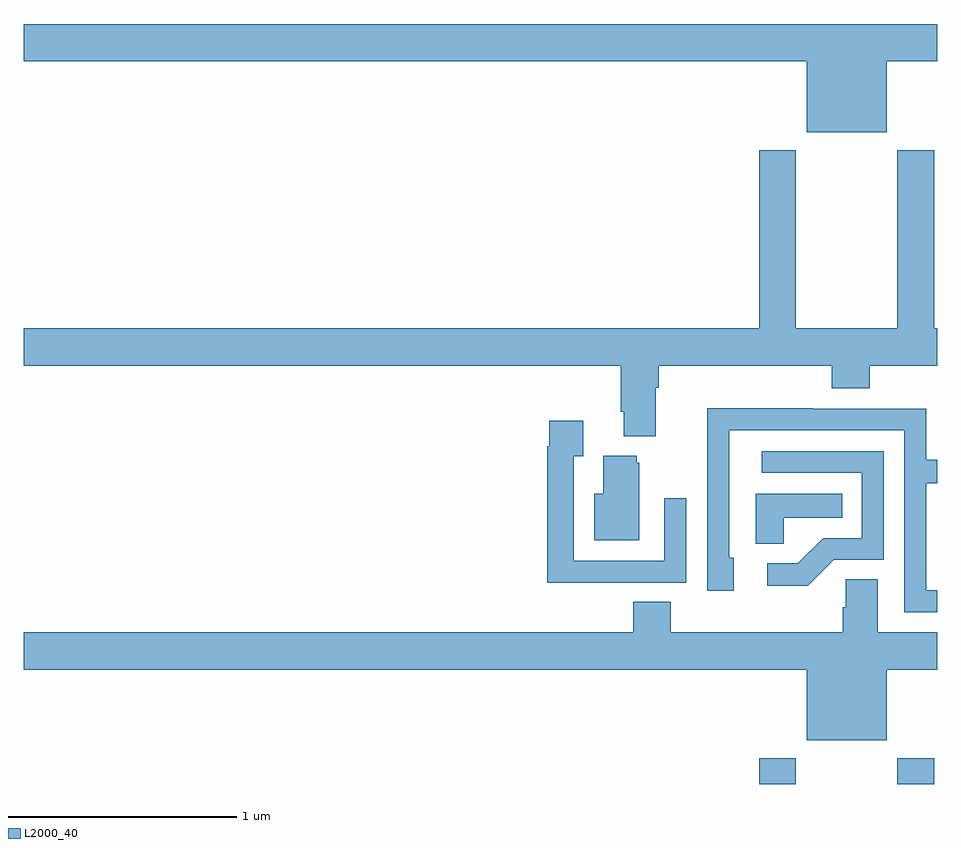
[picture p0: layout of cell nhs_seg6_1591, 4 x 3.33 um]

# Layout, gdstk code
import gdstk
lib = gdstk.Library(unit=1e-6, precision=1e-09)
def R(c, l, rs):  # rectangles x0, y0, x1, y1
    for r in rs: c.add(gdstk.rectangle(r[:2], r[2:], *l))
def P(c, l, *ps):  # polygons
    for p in ps: c.add(gdstk.Polygon(p, *l))
L2000_40 = (2000, 40)

nhs_seg6_1591 = lib.new_cell('nhs_seg6_1591')
R(nhs_seg6_1591, L2000_40, [(210.221,949.5,210.381,949.612), (210.826,949.5,210.986,949.612)])
P(nhs_seg6_1591, L2000_40, [(207,952.664),(210.428,952.664),(210.428,952.355),(210.778,952.355),(210.778,952.664),(211,952.664),(211,952.828),(207,952.828)],
  [(209.767,951.236),(209.78,951.236),(209.78,951.332),(210.539,951.332),(210.539,951.233),(210.704,951.233),(210.704,951.332),(211,951.332),(211,951.496),(210.986,951.496),(210.986,952.276),(210.826,952.276),(210.826,951.496),(210.381,951.496),(210.381,952.276),(210.221,952.276),(210.221,951.496),(207,951.496),(207,951.332),(209.615,951.332),(209.615,951.13),(209.627,951.13),(209.627,951.023),(209.767,951.023)],
  [(211,950.349),(210.951,950.349),(210.951,950.818),(211,950.818),(211,950.919),(210.951,950.919),(210.951,951.144),(210.455,951.144),(210.455,951.146),(209.992,951.146),(209.992,950.839),(209.994,950.839),(209.994,950.346),(210.109,950.346),(210.109,950.49),(210.09,950.49),(210.09,951.048),(210.855,951.048),(210.855,950.253),(211,950.253)],
  [(209.585,950.382),(209.901,950.382),(209.901,950.752),(209.805,950.752),(209.805,950.478),(209.409,950.478),(209.409,950.935),(209.449,950.935),(209.449,951.091),(209.301,951.091),(209.301,950.978),(209.293,950.978),(209.293,950.381),(209.585,950.381)],
  [(210.546,950.481),(210.765,950.481),(210.765,950.958),(210.231,950.958),(210.231,950.862),(210.669,950.862),(210.669,950.577),(210.5,950.577),(210.389,950.466),(210.255,950.466),(210.255,950.369),(210.433,950.369)],
  [(209.695,950.907),(209.684,950.907),(209.684,950.938),(209.537,950.938),(209.537,950.77),(209.498,950.77),(209.498,950.567),(209.695,950.567)],
  [(210.327,950.666),(210.584,950.666),(210.584,950.77),(210.206,950.77),(210.206,950.551),(210.327,950.551)],
  [(210.778,950),(211,950),(211,950.164),(210.739,950.164),(210.739,950.396),(210.6,950.396),(210.6,950.273),(210.587,950.273),(210.587,950.164),(209.834,950.164),(209.834,950.297),(209.669,950.297),(209.669,950.164),(207,950.164),(207,950),(210.428,950),(210.428,949.691),(210.778,949.691)])

lib.write_gds('nhs_seg6_1591.gds')
